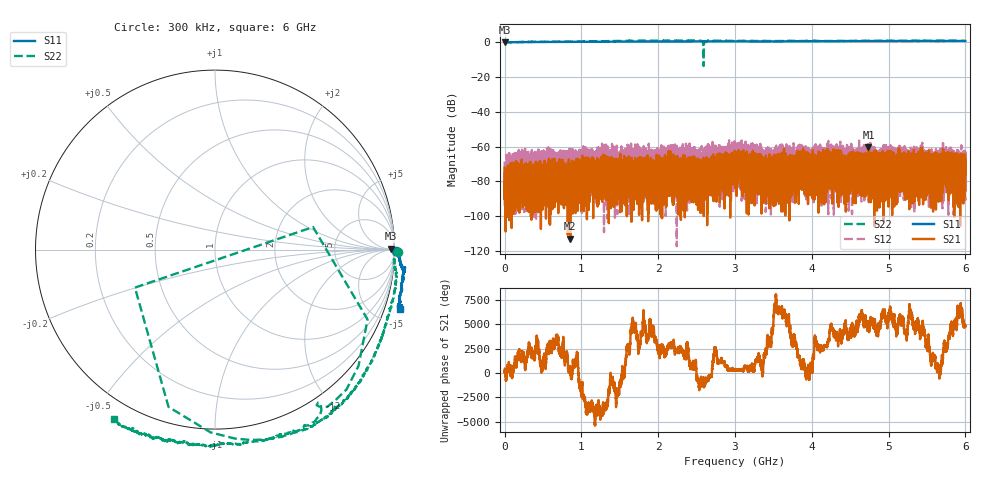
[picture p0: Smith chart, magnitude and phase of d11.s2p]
!Agilent Technologies,N5230C,SG49000117,A.08.50.07
!Agilent N5230C: A.08.50.07
!Date: Thursday, May 16, 2024 18:15:12
!Correction: S11(Full 2 Port(1,2))
!S21(Full 2 Port(1,2))
!S12(Full 2 Port(1,2))
!S22(Full 2 Port(1,2))
!S2P File: Measurements: S11, S21, S12, S22:
# Hz S  MA  R 50
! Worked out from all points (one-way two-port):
!   20001 points, 300 kHz to 6 GHz, reference 50 ohm
!   highest |S21| = -60.36 dB at 4.738 GHz (marker M1); lowest = -113.0 dB at 855.6 MHz (marker M2)
!   lowest |S11| = -0.2 dB at 600 kHz (marker M3), VSWR 114.05, Z = 5.23e+03 + j1.57e+03 ohm
!   |S11| at or under -10 dB: nowhere
!   |S22| runs from -13.7 to 1.0 dB; largest |S21 - S12| = 0.0019
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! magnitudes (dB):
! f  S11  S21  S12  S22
! 300 kHz  0.1  -72.1  -68.7  0.2
! 600 kHz  -0.2  -89.7  -70.8  -0.3
! 30.6 MHz  0.0  -81.1  -79.6  0.0
! 129 MHz  0.0  -76.0  -75.9  0.0
! 855.6 MHz  0.2  -113.0  -65.7  0.4
! 1 GHz  0.3  -82.4  -70.3  0.4
! 2 GHz  0.5  -83.5  -86.7  0.9
! 2.153 GHz  0.5  -78.0  -64.5  1.0
! 2.57 GHz  0.5  -83.3  -69.6  0.7
! 3 GHz  0.5  -70.9  -61.2  0.8
! 3.059 GHz  0.5  -67.4  -63.6  0.8
! 3.497 GHz  0.5  -79.9  -87.3  0.7
! 3.585 GHz  0.5  -68.0  -78.5  0.7
! 3.778 GHz  0.5  -77.6  -72.5  0.8
! 3.838 GHz  0.5  -65.7  -64.5  0.8
! 4 GHz  0.5  -88.6  -63.1  0.7
! 4.19 GHz  0.6  -73.7  -72.9  0.7
! 4.364 GHz  0.6  -78.2  -70.1  0.8
! 4.738 GHz  0.7  -60.4  -63.5  0.8
! 5 GHz  0.7  -69.6  -71.8  0.8
! 5.91 GHz  0.7  -72.6  -64.4  0.9
! 6 GHz  0.7  -74.0  -66.1  0.8
